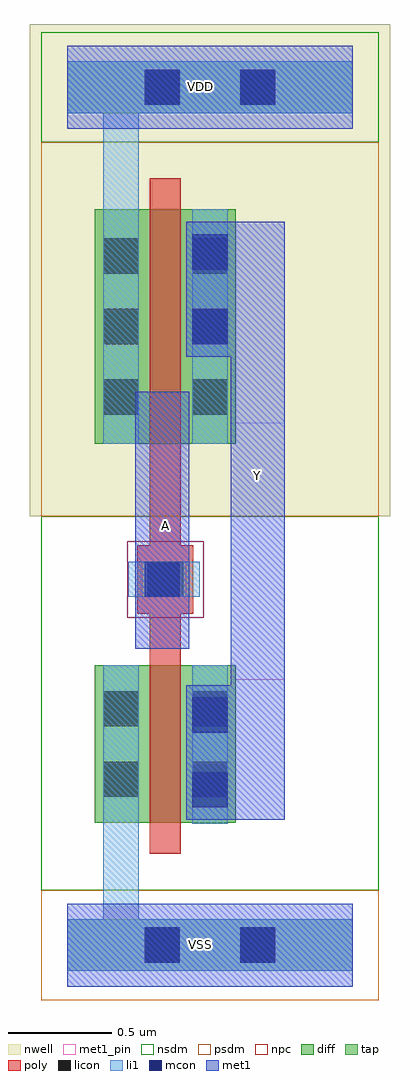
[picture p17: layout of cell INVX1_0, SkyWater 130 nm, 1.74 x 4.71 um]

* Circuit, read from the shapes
.subckt INVX1_0 A VDD VSS Y
XM1 Y A VSS VSS sky130_fd_pr__nfet_01v8 w=0.76 l=0.15
XM2 Y A VDD VDD sky130_fd_pr__pfet_01v8 w=1.13 l=0.15
.ends

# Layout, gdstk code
from math import pi, radians
import gdstk
lib = gdstk.Library(unit=1e-6, precision=1e-09)
def R(c, l, rs):  # rectangles x0, y0, x1, y1
    for r in rs: c.add(gdstk.rectangle(r[:2], r[2:], *l))
def A(c, l, x, y, w, h, nx, ny, dx, dy):  # array of equal rectangles
    R(c, l, [(x+i*dx, y+j*dy, x+i*dx+w, y+j*dy+h) for i in range(nx) for j in range(ny)])
def P(c, l, *ps):  # polygons
    for p in ps: c.add(gdstk.Polygon(p, *l))
nwell = (64, 20)
diff = (65, 20)
tap = (65, 44)
poly = (66, 20)
licon = (66, 44)
li1 = (67, 20)
mcon = (67, 44)
met1_pin = (68, 16)
met1 = (68, 20)
nsdm = (93, 44)
psdm = (94, 20)
npc = (95, 20)

pyl1con_c_cdns_751554744 = lib.new_cell('PYL1CON_C_CDNS_751554744751')
R(pyl1con_c_cdns_751554744, poly, [(-0.135,-0.165,0.135,0.165)])
R(pyl1con_c_cdns_751554744, licon, [(-0.085,-0.085,0.085,0.085)])
R(pyl1con_c_cdns_751554744, npc, [(-0.185,-0.185,0.185,0.185)])

invx1_0 = lib.new_cell('INVX1_0')
R(invx1_0, nwell, [(-0.18,2.07,1.56,4.445)])
R(invx1_0, diff, [(0.135,0.59,0.815,1.35), (0.135,2.42,0.815,3.55)])
R(invx1_0, poly, [(0.4,0.44,0.55,3.7)])
A(invx1_0, licon, 0.175, 2.56, 0.17, 0.17, 1, 3, 0, 0.34)
A(invx1_0, licon, 0.605, 2.56, 0.17, 0.17, 1, 3, 0, 0.34)
R(invx1_0, licon, [(0.375,-0.085,0.545,0.085), (0.835,-0.085,1.005,0.085), (0.175,0.715,0.345,0.885), (0.605,0.715,0.775,0.885), (0.175,1.055,0.345,1.225), (0.605,1.055,0.775,1.225), (0.375,4.055,0.545,4.225), (0.835,4.055,1.005,4.225)])
R(invx1_0, li1, [(0.605,0.585,0.775,1.275), (0.605,0.59,0.775,1.35), (0.295,1.68,0.625,1.85), (0.605,2.42,0.775,3.55), (0.605,2.82,0.775,3.51)])
P(invx1_0, li1, [(1.38,0.125),(0.345,0.125),(0.345,1.35),(0.175,1.35),(0.175,0.125),(0,0.125),(0,-0.125),(1.38,-0.125)],
  [(1.38,4.265),(0,4.265),(0,4.015),(0.175,4.015),(0.175,2.42),(0.345,2.42),(0.345,4.015),(1.38,4.015)])
R(invx1_0, mcon, [(0.375,-0.085,0.545,0.085), (0.835,-0.085,1.005,0.085), (0.605,0.665,0.775,0.835), (0.605,1.025,0.775,1.195), (0.375,1.68,0.545,1.85), (0.605,2.9,0.775,3.07), (0.605,3.26,0.775,3.43), (0.375,4.055,0.545,4.225), (0.835,4.055,1.005,4.225)])
R(invx1_0, met1_pin, [(0.79,1.28,1.05,2.52), (0.33,1.43,0.59,2.67)])
R(invx1_0, met1, [(0.575,0.605,0.805,1.255), (0.345,1.62,0.575,1.91), (0.575,2.84,0.805,3.49)])
R(invx1_0, nsdm, [(-0.125,0.265,1.505,2.07), (-0.125,3.875,1.505,4.405)])
R(invx1_0, psdm, [(-0.125,-0.265,1.505,0.265), (-0.125,2.07,1.505,3.875)])
invx1_0.add(gdstk.FlexPath([(0,0),(1.38,0)], 0.4, ends="flush", simple_path=True, layer=68, datatype=20))  # met1
invx1_0.add(gdstk.FlexPath([(0.46,1.43),(0.46,2.67)], 0.26, ends="flush", simple_path=True, layer=68, datatype=20))  # met1
invx1_0.add(gdstk.FlexPath([(0,4.14),(1.38,4.14)], 0.4, ends="flush", simple_path=True, layer=68, datatype=20))  # met1
invx1_0.add(gdstk.FlexPath([(0.92,3.49),(0.92,0.605)], 0.26, ends="flush", simple_path=True, layer=68, datatype=20))  # met1
invx1_0.add(gdstk.FlexPath([(0,0),(1.38,0)], 0.25, ends="flush", simple_path=True, layer=65, datatype=44))  # tap
invx1_0.add(gdstk.FlexPath([(0,4.14),(1.38,4.14)], 0.25, ends="flush", simple_path=True, layer=65, datatype=44))  # tap
invx1_0.add(gdstk.FlexPath([(0.295,1.765),(0.64,1.765)], 0.17, ends="flush", simple_path=True, layer=67, datatype=20))  # li1
invx1_0.add(gdstk.FlexPath([(0,0),(1.38,0)], 0.4, ends="flush", simple_path=True, layer=68, datatype=16))  # met1_pin
invx1_0.add(gdstk.FlexPath([(0,4.14),(1.38,4.14)], 0.4, ends="flush", simple_path=True, layer=68, datatype=16))  # met1_pin
invx1_0.add(gdstk.Reference(pyl1con_c_cdns_751554744, (0.475,1.765), rotation=pi, x_reflection=True))
invx1_0.add(gdstk.Label('Y', (0.92,2.265), layer=68, texttype=5))
invx1_0.add(gdstk.Label('A', (0.475,2.025), layer=68, texttype=5))
invx1_0.add(gdstk.Label('VSS', (0.645,0.005), layer=68, texttype=5))
invx1_0.add(gdstk.Label('VDD', (0.645,4.145), layer=68, texttype=5))

lib.write_gds('INVX1_0.gds')
